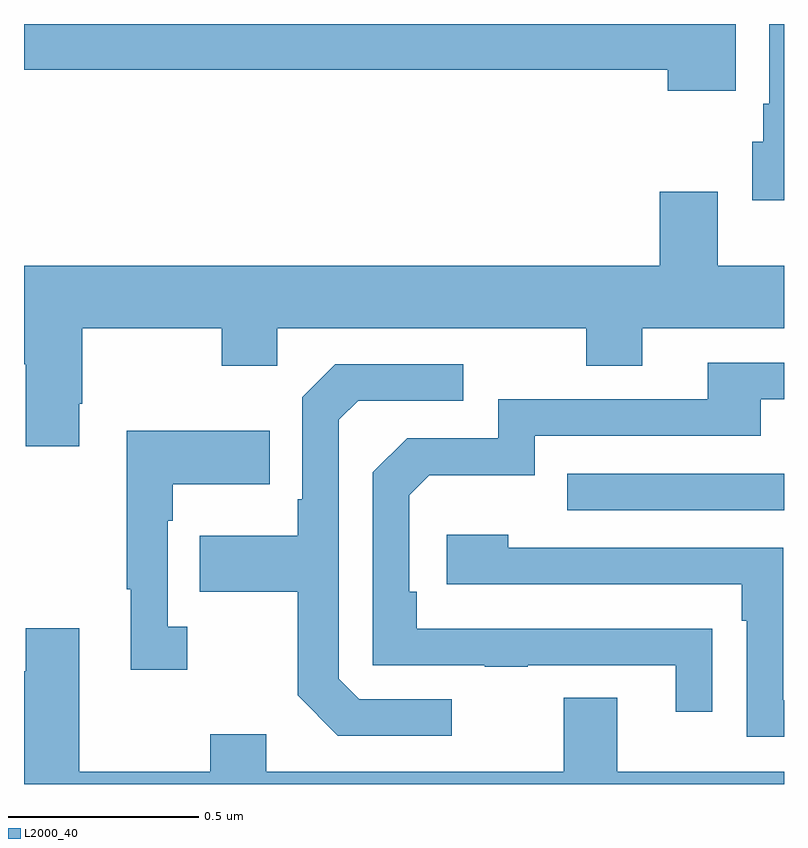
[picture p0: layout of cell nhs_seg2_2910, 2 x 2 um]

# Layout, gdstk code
import gdstk
lib = gdstk.Library(unit=1e-6, precision=1e-09)
def R(c, l, rs):  # rectangles x0, y0, x1, y1
    for r in rs: c.add(gdstk.rectangle(r[:2], r[2:], *l))
def P(c, l, *ps):  # polygons
    for p in ps: c.add(gdstk.Polygon(p, *l))
L2000_40 = (2000, 40)

nhs_seg2_2910 = lib.new_cell('nhs_seg2_2910')
R(nhs_seg2_2910, L2000_40, [(148.429,616.521,149,616.617)])
P(nhs_seg2_2910, L2000_40, [(149,617.8),(148.961,617.8),(148.961,617.59),(148.946,617.59),(148.946,617.49),(148.916,617.49),(148.916,617.336),(149,617.336)],
  [(148.873,617.8),(147,617.8),(147,617.68),(148.694,617.68),(148.694,617.624),(148.873,617.624)],
  [(147,616.904),(147.005,616.904),(147.005,616.689),(147.145,616.689),(147.145,616.801),(147.153,616.801),(147.153,617),(147.52,617),(147.52,616.901),(147.666,616.901),(147.666,617),(148.48,617),(148.48,616.901),(148.627,616.901),(148.627,617),(149,617),(149,617.164),(148.825,617.164),(148.825,617.359),(148.673,617.359),(148.673,617.164),(147,617.164)],
  [(148.811,616.208),(148.709,616.208),(148.709,616.209),(148.034,616.209),(148.034,616.306),(148.014,616.306),(148.014,616.56),(148.067,616.613),(148.344,616.613),(148.344,616.716),(148.939,616.716),(148.939,616.812),(149,616.812),(149,616.908),(148.799,616.908),(148.799,616.812),(148.248,616.812),(148.248,616.71),(148.008,616.71),(147.918,616.62),(147.918,616.113),(148.213,616.113),(148.213,616.108),(148.325,616.108),(148.325,616.113),(148.715,616.113),(148.715,615.99),(148.811,615.99)],
  [(148.126,616.023),(147.882,616.023),(147.828,616.077),(147.828,616.758),(147.879,616.809),(148.156,616.809),(148.156,616.905),(147.819,616.905),(147.732,616.818),(147.732,616.549),(147.72,616.549),(147.72,616.453),(147.463,616.453),(147.463,616.306),(147.72,616.306),(147.72,616.033),(147.825,615.927),(148.126,615.927)],
  [(147.43,616.214),(147.378,616.214),(147.378,616.493),(147.391,616.493),(147.391,616.589),(147.647,616.589),(147.647,616.729),(147.27,616.729),(147.27,616.313),(147.281,616.313),(147.281,616.101),(147.43,616.101)],
  [(149,616.02),(148.998,616.02),(148.998,616.422),(148.274,616.422),(148.274,616.456),(148.113,616.456),(148.113,616.326),(148.889,616.326),(148.889,616.229),(148.902,616.229),(148.902,615.924),(149,615.924)],
  [(149,615.832),(148.561,615.832),(148.561,616.027),(148.421,616.027),(148.421,615.832),(147.637,615.832),(147.637,615.931),(147.49,615.931),(147.49,615.832),(147.145,615.832),(147.145,616.21),(147.005,616.21),(147.005,616.097),(147,616.097),(147,615.8),(149,615.8)])

lib.write_gds('nhs_seg2_2910.gds')
